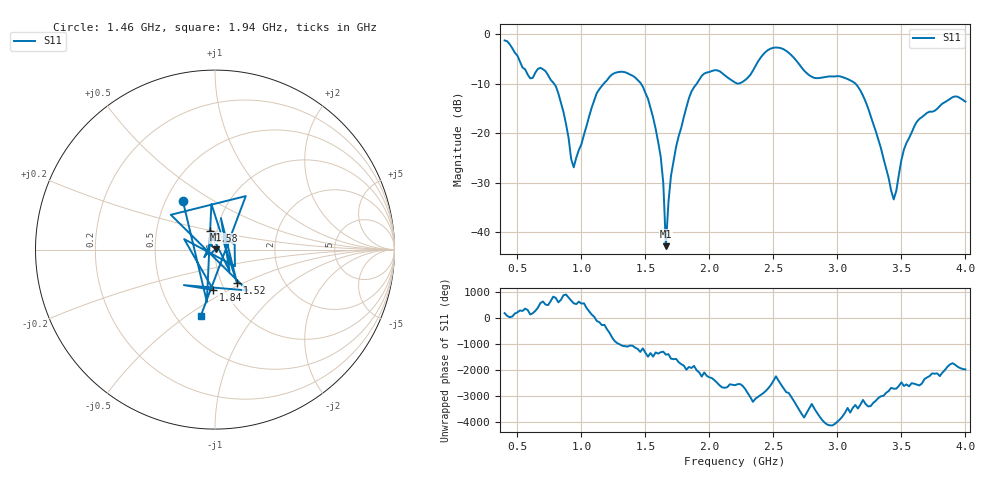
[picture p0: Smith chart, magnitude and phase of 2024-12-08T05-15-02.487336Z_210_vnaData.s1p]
!Created with skrf (http://scikit-rf.org).
# Hz S RI R 50.0
!freq ReS11 ImS11
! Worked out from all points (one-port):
!   181 points, 400 MHz to 4 GHz, reference 50 ohm
!   lowest |S11| = -42.8 dB at 1.66 GHz (marker M1), VSWR 1.01, Z = 50.7 + j0.228 ohm
!   |S11| at or under -10 dB: 785 MHz to 1.176 GHz (390.6 MHz wide, 39.8 % of centre); 1.465 GHz to 1.902 GHz (437.5 MHz wide, 26 % of centre); 3.141 GHz to end of sweep (the widest 3 of 4)
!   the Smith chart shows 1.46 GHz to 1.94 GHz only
!   S11 on the Smith chart (normalised r, x): 1.46 GHz: 0.61, +0.37; 1.52 GHz: 1.18, -0.46; 1.58 GHz: 0.92, +0.20; 1.84 GHz: 0.89, -0.42; 1.94 GHz: 0.66, -0.57
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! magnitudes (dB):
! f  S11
! 400 MHz  -1.3
! 600 MHz  -9.0
! 720 MHz  -7.5
! 860 MHz  -15.7
! 940 MHz  -26.9
! 1.12 GHz  -11.9
! 1.3 GHz  -7.6
! 1.46 GHz  -9.8
! 1.52 GHz  -13.1
! 1.58 GHz  -19.1
! 1.64 GHz  -30.2
! 1.66 GHz  -42.8
! 1.68 GHz  -33.9
! 1.7 GHz  -28.6
! 1.76 GHz  -20.6
! 1.84 GHz  -13.0
! 1.94 GHz  -8.5
! 2.2 GHz  -9.8
! 2.48 GHz  -2.9
! 2.66 GHz  -4.8
! 2.82 GHz  -8.9
! 3.1 GHz  -9.4
! 3.24 GHz  -15.0
! 3.44 GHz  -33.4
! 3.52 GHz  -23.3
! 3.56 GHz  -21.0
! 3.7 GHz  -15.9
! 4 GHz  -13.7
